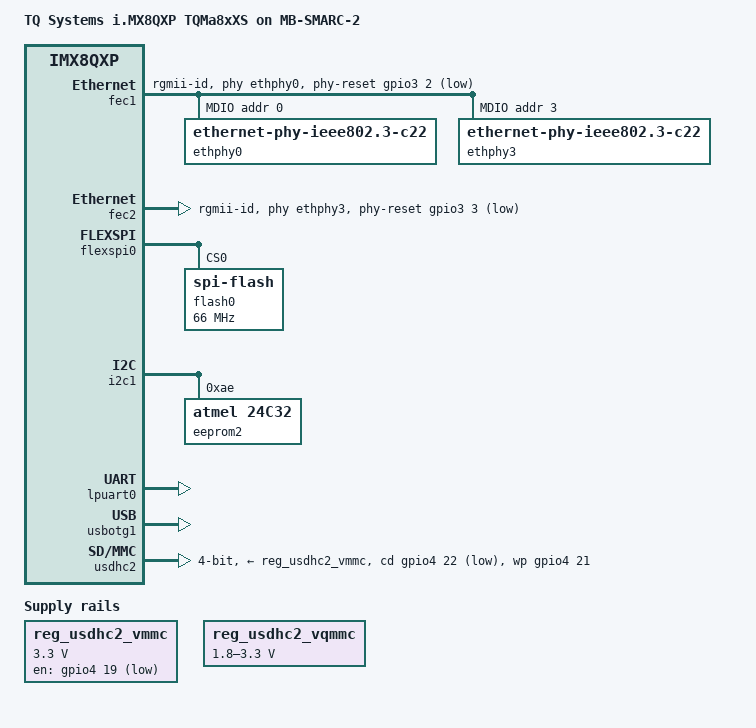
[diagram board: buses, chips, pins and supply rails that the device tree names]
/*
 * Copyright 2018 TQ Systems GmbH
 *
 * This program is free software; you can redistribute it and/or
 * modify it under the terms of the GNU General Public License
 * as published by the Free Software Foundation; either version 2
 * of the License, or (at your option) any later version.
 *
 * This program is distributed in the hope that it will be useful,
 * but WITHOUT ANY WARRANTY; without even the implied warranty of
 * MERCHANTABILITY or FITNESS FOR A PARTICULAR PURPOSE.  See the
 * GNU General Public License for more details.
 */

/dts-v1/;

#include "fsl-imx8qxp-tqma8qxs.dtsi"
#include <dt-bindings/net/ti-dp83867.h>

/ {
	model = "TQ Systems i.MX8QXP TQMa8xXS on MB-SMARC-2";
	compatible = "tq,tqma8qxs-mb-smarc-2", "tq,tqma8qxs", "fsl,imx8qxp";

	chosen {
		bootargs = "console=ttyLP0,115200 earlycon=lpuart32,0x5a060000,115200";
		stdout-path = &lpuart0;
	};

	regulators {
		compatible = "simple-bus";
		#address-cells = <1>;
		#size-cells = <0>;

		reg_usdhc2_vmmc: usdhc2_vmmc {
			compatible = "regulator-fixed";
			regulator-name = "SD1_PWR";
			regulator-min-microvolt = <3300000>;
			regulator-max-microvolt = <3300000>;
			gpio = <&gpio4 19 GPIO_ACTIVE_LOW>;
			startup-delay-us = <100>;
			off-on-delay-us = <12000>;
		};

		reg_usdhc2_vqmmc: usdhc2_vqmmc {
			compatible = "regulator-fixed";
			regulator-name = "SD1_VQMMC";
			regulator-min-microvolt = <1800000>;
			regulator-max-microvolt = <3300000>;
		};
	};
};

&fec1 {
	pinctrl-names = "default";
	pinctrl-0 = <&pinctrl_fec1>;
	phy-mode = "rgmii-id";
	phy-handle = <&ethphy0>;
	phy-reset-gpios = <&gpio3 2 GPIO_ACTIVE_LOW>;
	phy-reset-duration = <500>;
	fsl,magic-packet;
	status = "okay";

	mdio {
		#address-cells = <1>;
		#size-cells = <0>;

		ethphy0: ethernet-phy@0 {
			compatible = "ethernet-phy-ieee802.3-c22";
			reg = <0>;
			ti,rx-internal-delay = <DP83867_RGMIIDCTL_2_50_NS>;
			ti,tx-internal-delay = <DP83867_RGMIIDCTL_2_50_NS>;
		};

		ethphy3: ethernet-phy@3 {
			compatible = "ethernet-phy-ieee802.3-c22";
			reg = <3>;
			ti,rx-internal-delay = <DP83867_RGMIIDCTL_2_50_NS>;
			ti,tx-internal-delay = <DP83867_RGMIIDCTL_2_50_NS>;
		};
	};
};

&fec2 {
	pinctrl-names = "default";
	pinctrl-0 = <&pinctrl_fec2>;
	phy-mode = "rgmii-id";
	phy-handle = <&ethphy3>;
	fsl,magic-packet;
	phy-reset-gpios = <&gpio3 3 GPIO_ACTIVE_LOW>;
	phy-reset-duration = <500>;

	status = "okay";
};

&flexspi0 {
	pinctrl-names = "default";
	pinctrl-0 = <&pinctrl_flexspi0>;
	status = "okay";

	flash0: flash@0 {
		reg = <0>;
		#address-cells = <1>;
		#size-cells = <1>;
		compatible = "spi-flash";
		spi-max-frequency = <66000000>;
		spi-nor,ddr-quad-read-dummy = <8>;
	};
};

&i2c1 {
	eeprom2: 24c32@ae {
		compatible = "atmel,24c32";
		reg = <0xae>;
		pagesize = <16>;
	};
};

&iomuxc {
	tqma8qxs-mb-smarc-2 {
		pinctrl_fec1: fec1grp {
			fsl,pins = <
				SC_P_ENET0_MDC_CONN_ENET0_MDC			0x06000048
				SC_P_ENET0_MDIO_CONN_ENET0_MDIO			0x06000048
				SC_P_ENET0_RGMII_TX_CTL_CONN_ENET0_RGMII_TX_CTL	0x06000048
				SC_P_ENET0_RGMII_TXC_CONN_ENET0_RGMII_TXC	0x06000048
				SC_P_ENET0_RGMII_TXD0_CONN_ENET0_RGMII_TXD0	0x06000048
				SC_P_ENET0_RGMII_TXD1_CONN_ENET0_RGMII_TXD1	0x06000048
				SC_P_ENET0_RGMII_TXD2_CONN_ENET0_RGMII_TXD2	0x06000048
				SC_P_ENET0_RGMII_TXD3_CONN_ENET0_RGMII_TXD3	0x06000048
				SC_P_ENET0_RGMII_RXC_CONN_ENET0_RGMII_RXC	0x06000048
				SC_P_ENET0_RGMII_RX_CTL_CONN_ENET0_RGMII_RX_CTL	0x06000048
				SC_P_ENET0_RGMII_RXD0_CONN_ENET0_RGMII_RXD0	0x06000048
				SC_P_ENET0_RGMII_RXD1_CONN_ENET0_RGMII_RXD1	0x06000048
				SC_P_ENET0_RGMII_RXD2_CONN_ENET0_RGMII_RXD2	0x06000048
				SC_P_ENET0_RGMII_RXD3_CONN_ENET0_RGMII_RXD3	0x06000048

				SC_P_CSI_EN_LSIO_GPIO3_IO02			0x06000048
			>;
		};

		pinctrl_fec2: fec2grp {
			fsl,pins = <
				SC_P_ESAI0_SCKR_CONN_ENET1_RGMII_TX_CTL		0x06000048
				SC_P_ESAI0_FSR_CONN_ENET1_RGMII_TXC		0x06000048
				SC_P_ESAI0_TX4_RX1_CONN_ENET1_RGMII_TXD0	0x06000048
				SC_P_ESAI0_TX5_RX0_CONN_ENET1_RGMII_TXD1	0x06000048
				SC_P_ESAI0_FST_CONN_ENET1_RGMII_TXD2		0x06000048
				SC_P_ESAI0_SCKT_CONN_ENET1_RGMII_TXD3		0x06000048
				SC_P_ESAI0_TX0_CONN_ENET1_RGMII_RXC		0x06000048
				SC_P_SPDIF0_TX_CONN_ENET1_RGMII_RX_CTL		0x06000048
				SC_P_SPDIF0_RX_CONN_ENET1_RGMII_RXD0		0x06000048
				SC_P_ESAI0_TX3_RX2_CONN_ENET1_RGMII_RXD1	0x06000048
				SC_P_ESAI0_TX2_RX3_CONN_ENET1_RGMII_RXD2	0x06000048
				SC_P_ESAI0_TX1_CONN_ENET1_RGMII_RXD3		0x06000048

				SC_P_CSI_RESET_LSIO_GPIO3_IO03			0x06000048
			>;
		};

		pinctrl_flexspi0: flexspi0grp {
			fsl,pins = <
				SC_P_QSPI0A_DATA0_LSIO_QSPI0A_DATA0	0x0600004c
				SC_P_QSPI0A_DATA1_LSIO_QSPI0A_DATA1	0x0600004c
				SC_P_QSPI0A_DATA2_LSIO_QSPI0A_DATA2	0x0600004c
				SC_P_QSPI0A_DATA3_LSIO_QSPI0A_DATA3	0x0600004c
				SC_P_QSPI0A_DQS_LSIO_QSPI0A_DQS		0x0600004c
				SC_P_QSPI0A_SS0_B_LSIO_QSPI0A_SS0_B	0x0600004c
				SC_P_QSPI0A_SS1_B_LSIO_QSPI0A_SS1_B	0x0600004c
				SC_P_QSPI0A_SCLK_LSIO_QSPI0A_SCLK	0x0600004c
				SC_P_QSPI0B_SCLK_LSIO_QSPI0B_SCLK	0x0600004c
				SC_P_QSPI0B_DATA0_LSIO_QSPI0B_DATA0	0x0600004c
				SC_P_QSPI0B_DATA1_LSIO_QSPI0B_DATA1	0x0600004c
				SC_P_QSPI0B_DATA2_LSIO_QSPI0B_DATA2	0x0600004c
				SC_P_QSPI0B_DATA3_LSIO_QSPI0B_DATA3	0x0600004c
				SC_P_QSPI0B_DQS_LSIO_QSPI0B_DQS		0x0600004c
				SC_P_QSPI0B_SS0_B_LSIO_QSPI0B_SS0_B	0x0600004c
				SC_P_QSPI0B_SS1_B_LSIO_QSPI0B_SS1_B	0x0600004c
			>;
		};

		pinctrl_lpuart0: lpuart0grp {
			fsl,pins = <
				SC_P_UART0_RX_ADMA_UART0_RX	0x06000020
				SC_P_UART0_TX_ADMA_UART0_TX	0x06000020
			>;
		};

		pinctrl_usbotg1: usbotg1grp {
			fsl,pins = <
				SC_P_USB_SS3_TC0_CONN_USB_OTG1_PWR	0x06000020
				SC_P_USB_SS3_TC2_CONN_USB_OTG1_OC	0x06000020
			>;
		};

		pinctrl_usbotg2: usbotg2grp {
			fsl,pins = <
				SC_P_USB_SS3_TC1_CONN_USB_OTG2_PWR	0x06000020
				SC_P_USB_SS3_TC3_CONN_USB_OTG2_OC	0x06000020
			>;
		};

		pinctrl_usdhc2_gpio: usdhc2gpiogrp {
			fsl,pins = <
				SC_P_USDHC1_RESET_B_LSIO_GPIO4_IO19	0x06000021
				SC_P_USDHC1_WP_LSIO_GPIO4_IO21		0x06000021
				SC_P_USDHC1_CD_B_LSIO_GPIO4_IO22	0x06000021
			>;
		};

		pinctrl_usdhc2: usdhc2grp {
			fsl,pins = <
				SC_P_USDHC1_CLK_CONN_USDHC1_CLK		0x06000041
				SC_P_USDHC1_CMD_CONN_USDHC1_CMD		0x06000021
				SC_P_USDHC1_DATA0_CONN_USDHC1_DATA0	0x06000021
				SC_P_USDHC1_DATA1_CONN_USDHC1_DATA1	0x06000021
				SC_P_USDHC1_DATA2_CONN_USDHC1_DATA2	0x06000021
				SC_P_USDHC1_DATA3_CONN_USDHC1_DATA3	0x06000021
				SC_P_USDHC1_VSELECT_CONN_USDHC1_VSELECT	0x06000021
			>;
		};

		pinctrl_usdhc2_100mhz: usdhc2grp100mhz {
			fsl,pins = <
				SC_P_USDHC1_CLK_CONN_USDHC1_CLK		0x06000040
				SC_P_USDHC1_CMD_CONN_USDHC1_CMD		0x06000020
				SC_P_USDHC1_DATA0_CONN_USDHC1_DATA0	0x06000020
				SC_P_USDHC1_DATA1_CONN_USDHC1_DATA1	0x06000020
				SC_P_USDHC1_DATA2_CONN_USDHC1_DATA2	0x06000020
				SC_P_USDHC1_DATA3_CONN_USDHC1_DATA3	0x06000020
				SC_P_USDHC1_VSELECT_CONN_USDHC1_VSELECT	0x06000020
			>;
		};

		pinctrl_usdhc2_200mhz: usdhc2grp200mhz {
			fsl,pins = <
				SC_P_USDHC1_CLK_CONN_USDHC1_CLK		0x06000040
				SC_P_USDHC1_CMD_CONN_USDHC1_CMD		0x06000020
				SC_P_USDHC1_DATA0_CONN_USDHC1_DATA0	0x06000020
				SC_P_USDHC1_DATA1_CONN_USDHC1_DATA1	0x06000020
				SC_P_USDHC1_DATA2_CONN_USDHC1_DATA2	0x06000020
				SC_P_USDHC1_DATA3_CONN_USDHC1_DATA3	0x06000020
				SC_P_USDHC1_VSELECT_CONN_USDHC1_VSELECT	0x06000020
			>;
		};
	};
};

&lpuart0 {
	pinctrl-names = "default";
	pinctrl-0 = <&pinctrl_lpuart0>;
	status = "okay";
};

&usbotg1 {
	pinctrl-names = "default";
	pinctrl-0 = <&pinctrl_usbotg1>;
/*
	srp-disable;
	hnp-disable;
	adp-disable;
*/
	power-polarity-active-high;
/*
 * TODO: error in USB driver, only when dr_mode is not given,
 * PD code for PHY will be executed
 */
/*	dr_mode = "host"; */
	status = "okay";
};

&usb2 {
	pinctrl-names = "default";
	pinctrl-0 = <&pinctrl_usbotg2>;
	status = "disabled";
};

&usdhc2 {
	pinctrl-names = "default", "state_100mhz", "state_200mhz";
	pinctrl-0 = <&pinctrl_usdhc2>, <&pinctrl_usdhc2_gpio>;
	pinctrl-1 = <&pinctrl_usdhc2_100mhz>, <&pinctrl_usdhc2_gpio>;
	pinctrl-2 = <&pinctrl_usdhc2_200mhz>, <&pinctrl_usdhc2_gpio>;
	bus-width = <4>;
	cd-gpios = <&gpio4 22 GPIO_ACTIVE_LOW>;
	wp-gpios = <&gpio4 21 GPIO_ACTIVE_HIGH>;
	no-1-8-v;
	vmmc-supply = <&reg_usdhc2_vmmc>;
/* TODO: does not work (yet) */
/*	vqmmc-supply = <&reg_usdhc2_vqmmc>; */
	status = "okay";
};
